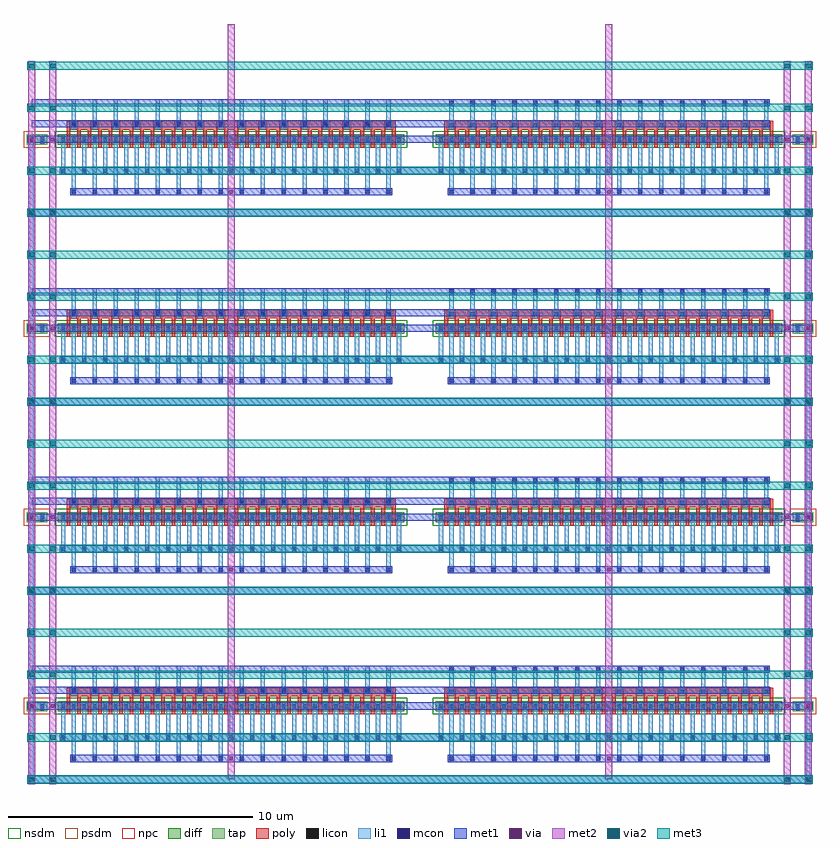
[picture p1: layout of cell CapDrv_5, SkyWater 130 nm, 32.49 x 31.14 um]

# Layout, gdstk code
from math import pi, radians
import gdstk
lib = gdstk.Library(unit=1e-6, precision=1e-09)
def R(c, l, rs):  # rectangles x0, y0, x1, y1
    for r in rs: c.add(gdstk.rectangle(r[:2], r[2:], *l))
def A(c, l, x, y, w, h, nx, ny, dx, dy):  # array of equal rectangles
    R(c, l, [(x+i*dx, y+j*dy, x+i*dx+w, y+j*dy+h) for i in range(nx) for j in range(ny)])
def P(c, l, *ps):  # polygons
    for p in ps: c.add(gdstk.Polygon(p, *l))
diff = (65, 20)
tap = (65, 44)
poly = (66, 20)
licon = (66, 44)
li1 = (67, 20)
mcon = (67, 44)
met1 = (68, 20)
via = (68, 44)
met2 = (69, 20)
via2 = (69, 44)
met3 = (70, 20)
nsdm = (93, 44)
psdm = (94, 20)
npc = (95, 20)

mosend_4 = lib.new_cell('MOSEnd_4')

mosend_10 = lib.new_cell('MOSEnd_10')

mostap = lib.new_cell('MOSTap')
R(mostap, tap, [(-0.205,0.655,0.635,1.075)])
R(mostap, licon, [(-0.085,0.78,0.085,0.95), (0.345,0.78,0.515,0.95)])
R(mostap, li1, [(-0.085,0.7,0.085,1.03), (0.345,0.7,0.515,1.03)])
R(mostap, psdm, [(-0.335,0.525,0.765,1.205)])

mosconn = lib.new_cell('MOSConn')
R(mosconn, diff, [(-0.215,0.655,13.975,1.075)])
A(mosconn, poly, 0.345, 0.115, 0.17, 0.33, 16, 1, 0.86, 0)
P(mosconn, poly, [(13.47,1.205),(13.47,0.455),(13.19,0.455),(13.19,1.205),(13.04,1.205),(13.04,0.455),(12.76,0.455),(12.76,1.205),(12.61,1.205),(12.61,0.455),(12.33,0.455),(12.33,1.205),(12.18,1.205),(12.18,0.455),(11.9,0.455),(11.9,1.205),(11.75,1.205),(11.75,0.455),(11.47,0.455),(11.47,1.205),(11.32,1.205),(11.32,0.455),(11.04,0.455),(11.04,1.205),(10.89,1.205),(10.89,0.455),(10.61,0.455),(10.61,1.205),(10.46,1.205),(10.46,0.455),(10.18,0.455),(10.18,1.205),(10.03,1.205),(10.03,0.455),(9.75,0.455),(9.75,1.205),(9.6,1.205),(9.6,0.455),(9.32,0.455),(9.32,1.205),(9.17,1.205),(9.17,0.455),(8.89,0.455),(8.89,1.205),(8.74,1.205),(8.74,0.455),(8.46,0.455),(8.46,1.205),(8.31,1.205),(8.31,0.455),(8.03,0.455),(8.03,1.205),(7.88,1.205),(7.88,0.455),(7.6,0.455),(7.6,1.205),(7.45,1.205),(7.45,0.455),(7.17,0.455),(7.17,1.205),(7.02,1.205),(7.02,0.455),(6.74,0.455),(6.74,1.205),(6.59,1.205),(6.59,0.455),(6.31,0.455),(6.31,1.205),(6.16,1.205),(6.16,0.455),(5.88,0.455),(5.88,1.205),(5.73,1.205),(5.73,0.455),(5.45,0.455),(5.45,1.205),(5.3,1.205),(5.3,0.455),(5.02,0.455),(5.02,1.205),(4.87,1.205),(4.87,0.455),(4.59,0.455),(4.59,1.205),(4.44,1.205),(4.44,0.455),(4.16,0.455),(4.16,1.205),(4.01,1.205),(4.01,0.455),(3.73,0.455),(3.73,1.205),(3.58,1.205),(3.58,0.455),(3.3,0.455),(3.3,1.205),(3.15,1.205),(3.15,0.455),(2.87,0.455),(2.87,1.205),(2.72,1.205),(2.72,0.455),(2.44,0.455),(2.44,1.205),(2.29,1.205),(2.29,0.455),(2.01,0.455),(2.01,1.205),(1.86,1.205),(1.86,0.455),(1.58,0.455),(1.58,1.205),(1.43,1.205),(1.43,0.455),(1.15,0.455),(1.15,1.205),(1,1.205),(1,0.455),(0.72,0.455),(0.72,1.205),(0.57,1.205),(0.57,0.455),(0.29,0.455),(0.29,1.205),(0.14,1.205),(0.14,0.105),(13.62,0.105),(13.62,1.205)])
A(mosconn, licon, 0.345, 0.195, 0.17, 0.17, 16, 1, 0.86, 0)
A(mosconn, licon, -0.085, 0.78, 0.17, 0.17, 33, 1, 0.43, 0)
A(mosconn, li1, 0.29, 0.145, 0.28, 0.27, 16, 1, 0.86, 0)
A(mosconn, li1, -0.085, 0.7, 0.17, 0.33, 33, 1, 0.43, 0)
P(mosconn, li1, [(0.345,0.445),(0.345,0.415),(0.29,0.415),(0.29,0.145),(0.345,0.145),(0.345,0.115),(0.515,0.115),(0.515,0.145),(0.57,0.145),(0.57,0.415),(0.515,0.415),(0.515,0.445)],
  [(1.205,0.445),(1.205,0.415),(1.15,0.415),(1.15,0.145),(1.205,0.145),(1.205,0.115),(1.375,0.115),(1.375,0.145),(1.43,0.145),(1.43,0.415),(1.375,0.415),(1.375,0.445)],
  [(2.065,0.445),(2.065,0.415),(2.01,0.415),(2.01,0.145),(2.065,0.145),(2.065,0.115),(2.235,0.115),(2.235,0.145),(2.29,0.145),(2.29,0.415),(2.235,0.415),(2.235,0.445)],
  [(2.925,0.445),(2.925,0.415),(2.87,0.415),(2.87,0.145),(2.925,0.145),(2.925,0.115),(3.095,0.115),(3.095,0.145),(3.15,0.145),(3.15,0.415),(3.095,0.415),(3.095,0.445)],
  [(3.785,0.445),(3.785,0.415),(3.73,0.415),(3.73,0.145),(3.785,0.145),(3.785,0.115),(3.955,0.115),(3.955,0.145),(4.01,0.145),(4.01,0.415),(3.955,0.415),(3.955,0.445)],
  [(4.645,0.445),(4.645,0.415),(4.59,0.415),(4.59,0.145),(4.645,0.145),(4.645,0.115),(4.815,0.115),(4.815,0.145),(4.87,0.145),(4.87,0.415),(4.815,0.415),(4.815,0.445)],
  [(5.505,0.445),(5.505,0.415),(5.45,0.415),(5.45,0.145),(5.505,0.145),(5.505,0.115),(5.675,0.115),(5.675,0.145),(5.73,0.145),(5.73,0.415),(5.675,0.415),(5.675,0.445)],
  [(6.365,0.445),(6.365,0.415),(6.31,0.415),(6.31,0.145),(6.365,0.145),(6.365,0.115),(6.535,0.115),(6.535,0.145),(6.59,0.145),(6.59,0.415),(6.535,0.415),(6.535,0.445)],
  [(7.225,0.445),(7.225,0.415),(7.17,0.415),(7.17,0.145),(7.225,0.145),(7.225,0.115),(7.395,0.115),(7.395,0.145),(7.45,0.145),(7.45,0.415),(7.395,0.415),(7.395,0.445)],
  [(8.085,0.445),(8.085,0.415),(8.03,0.415),(8.03,0.145),(8.085,0.145),(8.085,0.115),(8.255,0.115),(8.255,0.145),(8.31,0.145),(8.31,0.415),(8.255,0.415),(8.255,0.445)],
  [(8.945,0.445),(8.945,0.415),(8.89,0.415),(8.89,0.145),(8.945,0.145),(8.945,0.115),(9.115,0.115),(9.115,0.145),(9.17,0.145),(9.17,0.415),(9.115,0.415),(9.115,0.445)],
  [(9.805,0.445),(9.805,0.415),(9.75,0.415),(9.75,0.145),(9.805,0.145),(9.805,0.115),(9.975,0.115),(9.975,0.145),(10.03,0.145),(10.03,0.415),(9.975,0.415),(9.975,0.445)],
  [(10.665,0.445),(10.665,0.415),(10.61,0.415),(10.61,0.145),(10.665,0.145),(10.665,0.115),(10.835,0.115),(10.835,0.145),(10.89,0.145),(10.89,0.415),(10.835,0.415),(10.835,0.445)],
  [(11.525,0.445),(11.525,0.415),(11.47,0.415),(11.47,0.145),(11.525,0.145),(11.525,0.115),(11.695,0.115),(11.695,0.145),(11.75,0.145),(11.75,0.415),(11.695,0.415),(11.695,0.445)],
  [(12.385,0.445),(12.385,0.415),(12.33,0.415),(12.33,0.145),(12.385,0.145),(12.385,0.115),(12.555,0.115),(12.555,0.145),(12.61,0.145),(12.61,0.415),(12.555,0.415),(12.555,0.445)],
  [(13.245,0.445),(13.245,0.415),(13.19,0.415),(13.19,0.145),(13.245,0.145),(13.245,0.115),(13.415,0.115),(13.415,0.145),(13.47,0.145),(13.47,0.415),(13.415,0.415),(13.415,0.445)])
R(mosconn, nsdm, [(-0.345,0.525,14.105,1.205)])
A(mosconn, npc, 0.245, 0.095, 0.37, 0.37, 16, 1, 0.86, 0)

capdrvcore_5 = lib.new_cell('CapDrvCore_5')
A(capdrvcore_5, li1, 1.635, 0.715, 0.17, 2.455, 16, 4, 0.86, 7.74)
A(capdrvcore_5, li1, 1.635, 0.715, 0.17, 0.29, 16, 2, 0.86, 2.795)
A(capdrvcore_5, li1, 17.115, 0.715, 0.17, 2.455, 16, 4, 0.86, 7.74)
A(capdrvcore_5, li1, 17.115, 0.715, 0.17, 0.29, 16, 2, 0.86, 3.655)
A(capdrvcore_5, li1, 1.205, 1.575, 0.17, 1.595, 17, 4, 0.86, 7.74)
A(capdrvcore_5, li1, 1.205, 1.575, 0.17, 0.29, 17, 4, 0.86, 7.74)
A(capdrvcore_5, li1, 16.685, 1.575, 0.17, 1.595, 17, 4, 0.86, 7.74)
A(capdrvcore_5, li1, 16.685, 1.575, 0.17, 0.29, 17, 4, 0.86, 7.74)
A(capdrvcore_5, li1, 1.635, 3.425, 0.17, 1.235, 16, 4, 0.86, 7.74)
A(capdrvcore_5, li1, 17.115, 3.425, 0.17, 1.235, 16, 4, 0.86, 7.74)
A(capdrvcore_5, li1, 1.635, 8.455, 0.17, 0.29, 16, 2, 0.86, 2.795)
A(capdrvcore_5, li1, 17.115, 8.455, 0.17, 0.29, 16, 2, 0.86, 3.655)
A(capdrvcore_5, li1, 1.635, 16.195, 0.17, 0.29, 16, 2, 0.86, 2.795)
A(capdrvcore_5, li1, 17.115, 16.195, 0.17, 0.29, 16, 2, 0.86, 3.655)
A(capdrvcore_5, li1, 1.635, 23.935, 0.17, 0.29, 16, 2, 0.86, 2.795)
A(capdrvcore_5, li1, 17.115, 23.935, 0.17, 0.29, 16, 2, 0.86, 3.655)
R(capdrvcore_5, li1, [(-0.085,-0.145,0.085,26.39), (-0.085,-0.145,0.085,0.145), (31.735,-0.145,31.905,26.39), (31.735,-0.145,31.905,0.145), (-0.085,2.865,0.085,3.155), (31.735,2.865,31.905,3.155), (-0.085,7.595,0.085,7.885), (31.735,7.595,31.905,7.885), (-0.085,10.605,0.085,10.895), (31.735,10.605,31.905,10.895), (-0.085,15.335,0.085,15.625), (31.735,15.335,31.905,15.625), (-0.085,18.345,0.085,18.635), (31.735,18.345,31.905,18.635), (-0.085,23.075,0.085,23.365), (31.735,23.075,31.905,23.365), (-0.085,26.085,0.085,26.375), (31.735,26.085,31.905,26.375)])
A(capdrvcore_5, mcon, 1.635, 0.775, 0.17, 0.17, 16, 2, 0.86, 2.795)
A(capdrvcore_5, mcon, 17.115, 0.775, 0.17, 0.17, 16, 2, 0.86, 3.655)
A(capdrvcore_5, mcon, 1.205, 1.635, 0.17, 0.17, 17, 4, 0.86, 7.74)
A(capdrvcore_5, mcon, 16.685, 1.635, 0.17, 0.17, 17, 4, 0.86, 7.74)
A(capdrvcore_5, mcon, 1.635, 8.515, 0.17, 0.17, 16, 2, 0.86, 2.795)
A(capdrvcore_5, mcon, 17.115, 8.515, 0.17, 0.17, 16, 2, 0.86, 3.655)
A(capdrvcore_5, mcon, 1.635, 16.255, 0.17, 0.17, 16, 2, 0.86, 2.795)
A(capdrvcore_5, mcon, 17.115, 16.255, 0.17, 0.17, 16, 2, 0.86, 3.655)
A(capdrvcore_5, mcon, 1.635, 23.995, 0.17, 0.17, 16, 2, 0.86, 2.795)
A(capdrvcore_5, mcon, 17.115, 23.995, 0.17, 0.17, 16, 2, 0.86, 3.655)
R(capdrvcore_5, mcon, [(-0.085,-0.085,0.085,0.085), (31.735,-0.085,31.905,0.085), (-0.085,2.925,0.085,3.095), (31.735,2.925,31.905,3.095), (-0.085,7.655,0.085,7.825), (31.735,7.655,31.905,7.825), (-0.085,10.665,0.085,10.835), (31.735,10.665,31.905,10.835), (-0.085,15.395,0.085,15.565), (31.735,15.395,31.905,15.565), (-0.085,18.405,0.085,18.575), (31.735,18.405,31.905,18.575), (-0.085,23.135,0.085,23.305), (31.735,23.135,31.905,23.305), (-0.085,26.145,0.085,26.315), (31.735,26.145,31.905,26.315)])
A(capdrvcore_5, met1, 1.575, 0.715, 13.19, 0.29, 1, 4, 0, 7.74)
A(capdrvcore_5, met1, 1.575, 0.715, 0.29, 0.29, 16, 2, 0.86, 2.795)
A(capdrvcore_5, met1, 8.01, 0.715, 0.32, 0.29, 1, 4, 0, 7.74)
A(capdrvcore_5, met1, 17.055, 0.715, 13.19, 0.29, 1, 4, 0, 7.74)
A(capdrvcore_5, met1, 17.055, 0.715, 0.29, 0.29, 16, 2, 0.86, 3.655)
A(capdrvcore_5, met1, 23.49, 0.715, 0.32, 0.29, 1, 4, 0, 7.74)
A(capdrvcore_5, met1, 1.145, 1.575, 29.53, 0.29, 1, 4, 0, 7.74)
A(capdrvcore_5, met1, 1.145, 1.575, 0.29, 0.29, 17, 4, 0.86, 7.74)
A(capdrvcore_5, met1, 16.625, 1.575, 0.29, 0.29, 17, 4, 0.86, 7.74)
A(capdrvcore_5, met1, 1.575, 8.455, 0.29, 0.29, 16, 2, 0.86, 2.795)
A(capdrvcore_5, met1, 17.055, 8.455, 0.29, 0.29, 16, 2, 0.86, 3.655)
A(capdrvcore_5, met1, 1.575, 16.195, 0.29, 0.29, 16, 2, 0.86, 2.795)
A(capdrvcore_5, met1, 17.055, 16.195, 0.29, 0.29, 16, 2, 0.86, 3.655)
A(capdrvcore_5, met1, 1.575, 23.935, 0.29, 0.29, 16, 2, 0.86, 2.795)
A(capdrvcore_5, met1, 17.055, 23.935, 0.29, 0.29, 16, 2, 0.86, 3.655)
R(capdrvcore_5, met1, [(-0.16,-0.145,31.98,0.145), (-0.16,-0.145,0.16,0.145), (-0.145,-0.145,0.145,0.145), (0.7,-0.145,1.02,0.145), (30.8,-0.145,31.12,0.145), (31.66,-0.145,31.98,0.145), (31.675,-0.145,31.965,0.145), (-0.16,2.865,31.98,3.155), (-0.16,2.865,0.16,3.155), (-0.145,2.865,0.145,3.155), (0.7,2.865,1.02,3.155), (30.8,2.865,31.12,3.155), (31.66,2.865,31.98,3.155), (31.675,2.865,31.965,3.155), (-0.005,3.51,30.245,3.8), (-0.005,4.37,30.245,4.66), (-0.16,7.595,31.98,7.885), (-0.16,7.595,0.16,7.885), (-0.145,7.595,0.145,7.885), (0.7,7.595,1.02,7.885), (30.8,7.595,31.12,7.885), (31.66,7.595,31.98,7.885), (31.675,7.595,31.965,7.885), (-0.16,10.605,31.98,10.895), (-0.16,10.605,0.16,10.895), (-0.145,10.605,0.145,10.895), (0.7,10.605,1.02,10.895), (30.8,10.605,31.12,10.895), (31.66,10.605,31.98,10.895), (31.675,10.605,31.965,10.895), (-0.005,11.25,30.245,11.54), (-0.005,12.11,30.245,12.4), (-0.16,15.335,31.98,15.625), (-0.16,15.335,0.16,15.625), (-0.145,15.335,0.145,15.625), (0.7,15.335,1.02,15.625), (30.8,15.335,31.12,15.625), (31.66,15.335,31.98,15.625), (31.675,15.335,31.965,15.625), (-0.16,18.345,31.98,18.635), (-0.16,18.345,0.16,18.635), (-0.145,18.345,0.145,18.635), (0.7,18.345,1.02,18.635), (30.8,18.345,31.12,18.635), (31.66,18.345,31.98,18.635), (31.675,18.345,31.965,18.635), (-0.005,18.99,30.245,19.28), (-0.005,19.85,30.245,20.14), (-0.16,23.075,31.98,23.365), (-0.16,23.075,0.16,23.365), (-0.145,23.075,0.145,23.365), (0.7,23.075,1.02,23.365), (30.8,23.075,31.12,23.365), (31.66,23.075,31.98,23.365), (31.675,23.075,31.965,23.365), (-0.16,26.085,31.98,26.375), (-0.16,26.085,0.16,26.375), (-0.145,26.085,0.145,26.375), (0.7,26.085,1.02,26.375), (30.8,26.085,31.12,26.375), (31.66,26.085,31.98,26.375), (31.675,26.085,31.965,26.375), (-0.005,26.73,30.245,27.02), (-0.005,27.59,30.245,27.88)])
A(capdrvcore_5, via, 8.095, 0.785, 0.15, 0.15, 1, 4, 0, 7.74)
A(capdrvcore_5, via, 23.575, 0.785, 0.15, 0.15, 1, 4, 0, 7.74)
R(capdrvcore_5, via, [(-0.075,-0.075,0.075,0.075), (0.785,-0.075,0.935,0.075), (30.885,-0.075,31.035,0.075), (31.745,-0.075,31.895,0.075), (-0.075,2.935,0.075,3.085), (0.785,2.935,0.935,3.085), (30.885,2.935,31.035,3.085), (31.745,2.935,31.895,3.085), (-0.075,7.665,0.075,7.815), (0.785,7.665,0.935,7.815), (30.885,7.665,31.035,7.815), (31.745,7.665,31.895,7.815), (-0.075,10.675,0.075,10.825), (0.785,10.675,0.935,10.825), (30.885,10.675,31.035,10.825), (31.745,10.675,31.895,10.825), (-0.075,15.405,0.075,15.555), (0.785,15.405,0.935,15.555), (30.885,15.405,31.035,15.555), (31.745,15.405,31.895,15.555), (-0.075,18.415,0.075,18.565), (0.785,18.415,0.935,18.565), (30.885,18.415,31.035,18.565), (31.745,18.415,31.895,18.565), (-0.075,23.145,0.075,23.295), (0.785,23.145,0.935,23.295), (30.885,23.145,31.035,23.295), (31.745,23.145,31.895,23.295), (-0.075,26.155,0.075,26.305), (0.785,26.155,0.935,26.305), (30.885,26.155,31.035,26.305), (31.745,26.155,31.895,26.305)])
A(capdrvcore_5, met2, 8.03, 0.7, 0.28, 0.32, 1, 4, 0, 7.74)
A(capdrvcore_5, met2, 23.51, 0.7, 0.28, 0.32, 1, 4, 0, 7.74)
A(capdrvcore_5, met2, -0.14, 4.115, 0.28, 0.37, 1, 4, 0, 1.72)
A(capdrvcore_5, met2, 0.72, 4.115, 0.28, 0.37, 1, 4, 0, 1.72)
A(capdrvcore_5, met2, 30.82, 4.115, 0.28, 0.37, 1, 4, 0, 1.72)
A(capdrvcore_5, met2, 31.68, 4.115, 0.28, 0.37, 1, 4, 0, 1.72)
A(capdrvcore_5, met2, -0.14, 11.855, 0.28, 0.37, 1, 4, 0, 1.72)
A(capdrvcore_5, met2, 0.72, 11.855, 0.28, 0.37, 1, 4, 0, 1.72)
A(capdrvcore_5, met2, 30.82, 11.855, 0.28, 0.37, 1, 4, 0, 1.72)
A(capdrvcore_5, met2, 31.68, 11.855, 0.28, 0.37, 1, 4, 0, 1.72)
A(capdrvcore_5, met2, -0.14, 19.595, 0.28, 0.37, 1, 4, 0, 1.72)
A(capdrvcore_5, met2, 0.72, 19.595, 0.28, 0.37, 1, 4, 0, 1.72)
A(capdrvcore_5, met2, 30.82, 19.595, 0.28, 0.37, 1, 4, 0, 1.72)
A(capdrvcore_5, met2, 31.68, 19.595, 0.28, 0.37, 1, 4, 0, 1.72)
R(capdrvcore_5, met2, [(-0.14,-0.185,0.14,29.425), (-0.14,-0.185,0.14,0.185), (0.72,-0.185,1,29.425), (0.72,-0.185,1,0.185), (30.82,-0.185,31.1,29.425), (30.82,-0.185,31.1,0.185), (31.68,-0.185,31.96,29.425), (31.68,-0.185,31.96,0.185), (-0.14,-0.16,0.14,0.16), (0.72,-0.16,1,0.16), (30.82,-0.16,31.1,0.16), (31.68,-0.16,31.96,0.16), (8.03,0,8.31,30.96), (23.51,0,23.79,30.96), (-0.14,1.535,0.14,1.905), (0.72,1.535,1,1.905), (30.82,1.535,31.1,1.905), (31.68,1.535,31.96,1.905), (-0.14,2.85,0.14,3.17), (0.72,2.85,1,3.17), (30.82,2.85,31.1,3.17), (31.68,2.85,31.96,3.17), (-0.14,7.58,0.14,7.9), (0.72,7.58,1,7.9), (30.82,7.58,31.1,7.9), (31.68,7.58,31.96,7.9), (-0.14,10.59,0.14,10.91), (0.72,10.59,1,10.91), (30.82,10.59,31.1,10.91), (31.68,10.59,31.96,10.91), (-0.14,15.32,0.14,15.64), (0.72,15.32,1,15.64), (30.82,15.32,31.1,15.64), (31.68,15.32,31.96,15.64), (-0.14,18.33,0.14,18.65), (0.72,18.33,1,18.65), (30.82,18.33,31.1,18.65), (31.68,18.33,31.96,18.65), (-0.14,23.06,0.14,23.38), (0.72,23.06,1,23.38), (30.82,23.06,31.1,23.38), (31.68,23.06,31.96,23.38), (-0.14,26.07,0.14,26.39), (0.72,26.07,1,26.39), (30.82,26.07,31.1,26.39), (31.68,26.07,31.96,26.39), (-0.14,27.335,0.14,27.705), (0.72,27.335,1,27.705), (30.82,27.335,31.1,27.705), (31.68,27.335,31.96,27.705), (-0.14,29.055,0.14,29.425), (0.72,29.055,1,29.425), (30.82,29.055,31.1,29.425), (31.68,29.055,31.96,29.425)])
A(capdrvcore_5, via2, -0.1, 4.2, 0.2, 0.2, 1, 4, 0, 1.72)
A(capdrvcore_5, via2, 0.76, 4.2, 0.2, 0.2, 1, 4, 0, 1.72)
A(capdrvcore_5, via2, 30.86, 4.2, 0.2, 0.2, 1, 4, 0, 1.72)
A(capdrvcore_5, via2, 31.72, 4.2, 0.2, 0.2, 1, 4, 0, 1.72)
A(capdrvcore_5, via2, -0.1, 11.94, 0.2, 0.2, 1, 4, 0, 1.72)
A(capdrvcore_5, via2, 0.76, 11.94, 0.2, 0.2, 1, 4, 0, 1.72)
A(capdrvcore_5, via2, 30.86, 11.94, 0.2, 0.2, 1, 4, 0, 1.72)
A(capdrvcore_5, via2, 31.72, 11.94, 0.2, 0.2, 1, 4, 0, 1.72)
A(capdrvcore_5, via2, -0.1, 19.68, 0.2, 0.2, 1, 4, 0, 1.72)
A(capdrvcore_5, via2, 0.76, 19.68, 0.2, 0.2, 1, 4, 0, 1.72)
A(capdrvcore_5, via2, 30.86, 19.68, 0.2, 0.2, 1, 4, 0, 1.72)
A(capdrvcore_5, via2, 31.72, 19.68, 0.2, 0.2, 1, 4, 0, 1.72)
R(capdrvcore_5, via2, [(-0.1,-0.1,0.1,0.1), (0.76,-0.1,0.96,0.1), (30.86,-0.1,31.06,0.1), (31.72,-0.1,31.92,0.1), (-0.1,1.62,0.1,1.82), (0.76,1.62,0.96,1.82), (30.86,1.62,31.06,1.82), (31.72,1.62,31.92,1.82), (-0.1,27.42,0.1,27.62), (0.76,27.42,0.96,27.62), (30.86,27.42,31.06,27.62), (31.72,27.42,31.92,27.62), (-0.1,29.14,0.1,29.34), (0.76,29.14,0.96,29.34), (30.86,29.14,31.06,29.34), (31.72,29.14,31.92,29.34)])
A(capdrvcore_5, met3, -0.185, 4.135, 32.19, 0.33, 1, 4, 0, 1.72)
A(capdrvcore_5, met3, -0.185, 4.135, 0.37, 0.33, 1, 4, 0, 1.72)
A(capdrvcore_5, met3, 0.675, 4.135, 0.37, 0.33, 1, 4, 0, 1.72)
A(capdrvcore_5, met3, 30.775, 4.135, 0.37, 0.33, 1, 4, 0, 1.72)
A(capdrvcore_5, met3, 31.635, 4.135, 0.37, 0.33, 1, 4, 0, 1.72)
A(capdrvcore_5, met3, -0.185, 11.875, 32.19, 0.33, 1, 4, 0, 1.72)
A(capdrvcore_5, met3, -0.185, 11.875, 0.37, 0.33, 1, 4, 0, 1.72)
A(capdrvcore_5, met3, 0.675, 11.875, 0.37, 0.33, 1, 4, 0, 1.72)
A(capdrvcore_5, met3, 30.775, 11.875, 0.37, 0.33, 1, 4, 0, 1.72)
A(capdrvcore_5, met3, 31.635, 11.875, 0.37, 0.33, 1, 4, 0, 1.72)
A(capdrvcore_5, met3, -0.185, 19.615, 32.19, 0.33, 1, 4, 0, 1.72)
A(capdrvcore_5, met3, -0.185, 19.615, 0.37, 0.33, 1, 4, 0, 1.72)
A(capdrvcore_5, met3, 0.675, 19.615, 0.37, 0.33, 1, 4, 0, 1.72)
A(capdrvcore_5, met3, 30.775, 19.615, 0.37, 0.33, 1, 4, 0, 1.72)
A(capdrvcore_5, met3, 31.635, 19.615, 0.37, 0.33, 1, 4, 0, 1.72)
R(capdrvcore_5, met3, [(-0.185,-0.165,32.005,0.165), (-0.185,-0.165,0.185,0.165), (0.675,-0.165,1.045,0.165), (30.775,-0.165,31.145,0.165), (31.635,-0.165,32.005,0.165), (-0.185,1.555,32.005,1.885), (-0.185,1.555,0.185,1.885), (0.675,1.555,1.045,1.885), (30.775,1.555,31.145,1.885), (31.635,1.555,32.005,1.885), (-0.185,27.355,32.005,27.685), (-0.185,27.355,0.185,27.685), (0.675,27.355,1.045,27.685), (30.775,27.355,31.145,27.685), (31.635,27.355,32.005,27.685), (-0.185,29.075,32.005,29.405), (-0.185,29.075,0.185,29.405), (0.675,29.075,1.045,29.405), (30.775,29.075,31.145,29.405), (31.635,29.075,32.005,29.405)])
capdrvcore_5.add(gdstk.Reference(mostap, (0,3.87), x_reflection=True))
capdrvcore_5.add(gdstk.Reference(mosconn, (1.29,3.87), x_reflection=True))
capdrvcore_5.add(gdstk.Reference(mosconn, (16.77,3.87), x_reflection=True))
capdrvcore_5.add(gdstk.Reference(mostap, (31.82,3.87), rotation=pi))
capdrvcore_5.add(gdstk.Reference(mostap, (0,11.61), x_reflection=True))
capdrvcore_5.add(gdstk.Reference(mosconn, (1.29,11.61), x_reflection=True))
capdrvcore_5.add(gdstk.Reference(mosconn, (16.77,11.61), x_reflection=True))
capdrvcore_5.add(gdstk.Reference(mostap, (31.82,11.61), rotation=pi))
capdrvcore_5.add(gdstk.Reference(mostap, (0,19.35), x_reflection=True))
capdrvcore_5.add(gdstk.Reference(mosconn, (1.29,19.35), x_reflection=True))
capdrvcore_5.add(gdstk.Reference(mosconn, (16.77,19.35), x_reflection=True))
capdrvcore_5.add(gdstk.Reference(mostap, (31.82,19.35), rotation=pi))
capdrvcore_5.add(gdstk.Reference(mostap, (0,27.09), x_reflection=True))
capdrvcore_5.add(gdstk.Reference(mosconn, (1.29,27.09), x_reflection=True))
capdrvcore_5.add(gdstk.Reference(mosconn, (16.77,27.09), x_reflection=True))
capdrvcore_5.add(gdstk.Reference(mostap, (31.82,27.09), rotation=pi))

moscorner = lib.new_cell('MOSCorner')

moscorner_8 = lib.new_cell('MOSCorner_8')

mosrowedge = lib.new_cell('MOSRowEdge')

mosspace = lib.new_cell('MOSSpace')

mosspace_1 = lib.new_cell('MOSSpace_1')

mosspace_2 = lib.new_cell('MOSSpace_2')

capdrv_5 = lib.new_cell('CapDrv_5')
capdrv_5.add(gdstk.Reference(mosend_4, (0.86,0)))
capdrv_5.add(gdstk.Reference(mosend_10, (0.86,30.96), x_reflection=True))
capdrv_5.add(gdstk.Reference(capdrvcore_5, (0.86,0)))
capdrv_5.add(gdstk.Reference(moscorner, (0,0)))
capdrv_5.add(gdstk.Reference(moscorner, (33.54,0), rotation=pi, x_reflection=True))
capdrv_5.add(gdstk.Reference(moscorner_8, (0,30.96), x_reflection=True))
capdrv_5.add(gdstk.Reference(moscorner_8, (33.54,30.96), rotation=pi))
capdrv_5.add(gdstk.Reference(mosrowedge, (0,3.87), x_reflection=True))
capdrv_5.add(gdstk.Reference(mosrowedge, (33.54,3.87), rotation=pi))
capdrv_5.add(gdstk.Reference(mosrowedge, (0,11.61), x_reflection=True))
capdrv_5.add(gdstk.Reference(mosrowedge, (33.54,11.61), rotation=pi))
capdrv_5.add(gdstk.Reference(mosrowedge, (0,19.35), x_reflection=True))
capdrv_5.add(gdstk.Reference(mosrowedge, (33.54,19.35), rotation=pi))
capdrv_5.add(gdstk.Reference(mosrowedge, (0,27.09), x_reflection=True))
capdrv_5.add(gdstk.Reference(mosrowedge, (33.54,27.09), rotation=pi))
capdrv_5.add(gdstk.Reference(mosspace, (1.29,3.87), x_reflection=True))
capdrv_5.add(gdstk.Reference(mosspace_1, (15.91,3.87), x_reflection=True))
capdrv_5.add(gdstk.Reference(mosspace_2, (31.39,3.87), x_reflection=True))
capdrv_5.add(gdstk.Reference(mosspace, (1.29,11.61), x_reflection=True))
capdrv_5.add(gdstk.Reference(mosspace_1, (15.91,11.61), x_reflection=True))
capdrv_5.add(gdstk.Reference(mosspace_2, (31.39,11.61), x_reflection=True))
capdrv_5.add(gdstk.Reference(mosspace, (1.29,19.35), x_reflection=True))
capdrv_5.add(gdstk.Reference(mosspace_1, (15.91,19.35), x_reflection=True))
capdrv_5.add(gdstk.Reference(mosspace_2, (31.39,19.35), x_reflection=True))
capdrv_5.add(gdstk.Reference(mosspace, (1.29,27.09), x_reflection=True))
capdrv_5.add(gdstk.Reference(mosspace_1, (15.91,27.09), x_reflection=True))
capdrv_5.add(gdstk.Reference(mosspace_2, (31.39,27.09), x_reflection=True))

lib.write_gds('CapDrv_5.gds')
